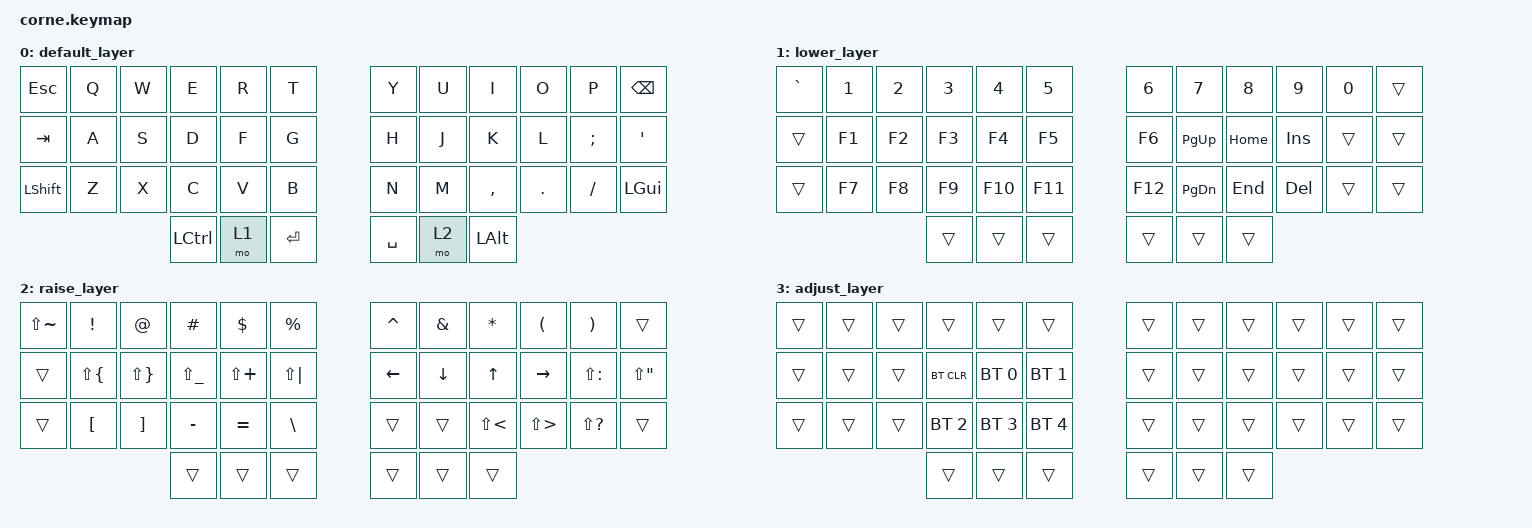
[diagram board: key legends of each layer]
/*
 * Copyright (c) 2020 The ZMK Contributors
 *
 * SPDX-License-Identifier: MIT
 */

#include <behaviors.dtsi>
#include <dt-bindings/zmk/bt.h>
#include <dt-bindings/zmk/keys.h>

/ {
    keymap {
        compatible = "zmk,keymap";

        default_layer {
            // -----------------------------------------------------------------------------------------
            // |  TAB |  Q  |  W  |  E  |  R  |  T  |   |  Y  |  U   |  I  |  O  |  P  | BSPC |
            // | CTRL |  A  |  S  |  D  |  F  |  G  |   |  H  |  J   |  K  |  L  |  ;  |  '   |
            // | SHFT |  Z  |  X  |  C  |  V  |  B  |   |  N  |  M   |  ,  |  .  |  /  | ESC  |
            //                    | GUI | LWR | SPC |   | ENT | RSE  | ALT |

            bindings = <
&kp ESCAPE  &kp Q  &kp W  &kp E      &kp R  &kp T        &kp Y      &kp U  &kp I         &kp O    &kp P     &kp BSPC
&kp TAB     &kp A  &kp S  &kp D      &kp F  &kp G        &kp H      &kp J  &kp K         &kp L    &kp SEMI  &kp SQT
&kp LSHFT   &kp Z  &kp X  &kp C      &kp V  &kp B        &kp N      &kp M  &kp COMMA     &kp DOT  &kp FSLH  &kp LEFT_GUI
                          &kp LCTRL  &mo 1  &kp ENTER    &kp SPACE  &mo 2  &kp LEFT_ALT
            >;
        };

        lower_layer {
            // -----------------------------------------------------------------------------------------
            // |  TAB |  1  |  2  |  3  |  4  |  5  |   |  6  |  7  |  8  |  9  |  0  | BSPC |
            // | BTCLR| BT1 | BT2 | BT3 | BT4 | BT5 |   | LFT | DWN |  UP | RGT |     |      |
            // | SHFT |     |     |     |     |     |   |     |     |     |     |     |      |
            //                    | GUI |     | SPC |   | ENT |     | ALT |

            bindings = <
&kp GRAVE  &kp N1  &kp N2  &kp N3  &kp N4   &kp N5     &kp N6   &kp N7     &kp N8    &kp N9      &kp N0  &trans
&trans     &kp F1  &kp F2  &kp F3  &kp F4   &kp F5     &kp F6   &kp PG_UP  &kp HOME  &kp INSERT  &trans  &trans
&trans     &kp F7  &kp F8  &kp F9  &kp F10  &kp F11    &kp F12  &kp PG_DN  &kp END   &kp DEL     &trans  &trans
                           &trans  &trans   &trans     &trans   &trans     &trans
            >;
        };

        raise_layer {
            // -----------------------------------------------------------------------------------------
            // |  TAB |  !  |  @  |  #  |  $  |  %  |   |  ^  |  &  |  *  |  (  |  )  | BSPC |
            // | CTRL |     |     |     |     |     |   |  -  |  =  |  [  |  ]  |  \  |  `   |
            // | SHFT |     |     |     |     |     |   |  _  |  +  |  {  |  }  | "|" |  ~   |
            //                    | GUI |     | SPC |   | ENT |     | ALT |

            bindings = <
&kp LS(TILDE)  &kp EXCL      &kp AT        &kp HASH       &kp DLLR      &kp PRCNT       &kp CARET  &kp AMPS  &kp ASTRK   &kp LPAR    &kp RPAR       &trans
&trans         &kp LS(LBRC)  &kp LS(RBRC)  &kp LS(UNDER)  &kp LS(PLUS)  &kp LS(PIPE)    &kp LEFT   &kp DOWN  &kp UP      &kp RIGHT   &kp LS(COLON)  &kp LS(DQT)
&trans         &kp LBKT      &kp RBKT      &kp MINUS      &kp EQUAL     &kp BSLH        &trans     &trans    &kp LS(LT)  &kp LS(GT)  &kp LS(QMARK)  &trans
                                           &trans         &trans        &trans          &trans     &trans    &trans
            >;
        };

        adjust_layer {
            bindings = <
&trans  &trans  &trans  &trans        &trans        &trans          &trans  &trans  &trans  &trans  &trans  &trans
&trans  &trans  &trans  &bt BT_CLR    &bt BT_SEL 0  &bt BT_SEL 1    &trans  &trans  &trans  &trans  &trans  &trans
&trans  &trans  &trans  &bt BT_SEL 2  &bt BT_SEL 3  &bt BT_SEL 4    &trans  &trans  &trans  &trans  &trans  &trans
                        &trans        &trans        &trans          &trans  &trans  &trans
            >;
        };
    };

    conditional_layers {
        compatible = "zmk,conditional-layers";

        both {
            if-layers = <1 2>;
            then-layer = <3>;
        };
    };
};
